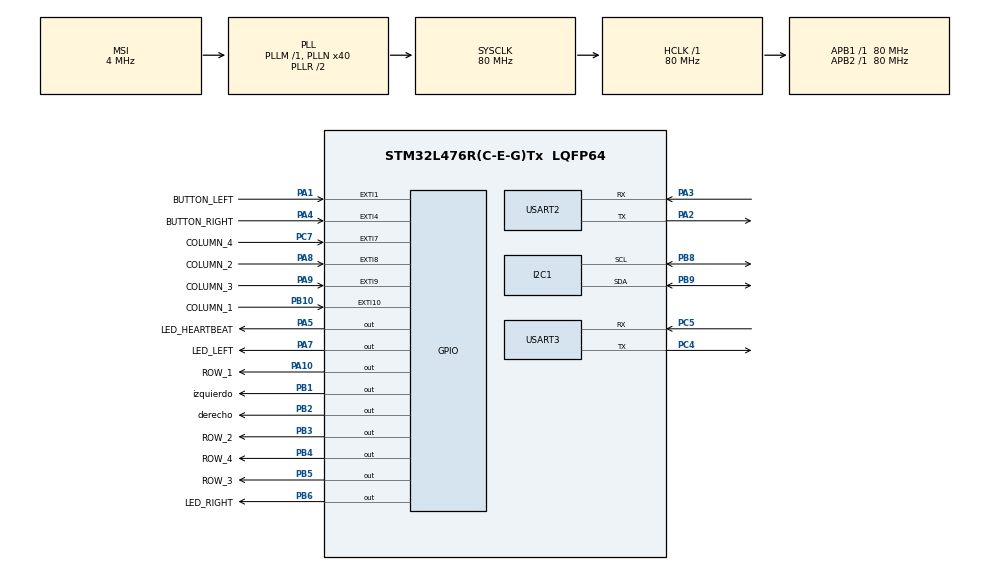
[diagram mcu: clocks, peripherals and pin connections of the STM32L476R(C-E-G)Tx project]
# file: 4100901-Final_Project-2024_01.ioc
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I2C1.Timing=0x10D19CE4
Mcu.Family=STM32L4
Mcu.Name=STM32L476R(C-E-G)Tx
Mcu.Package=LQFP64
NVIC.EXTI15_10_IRQn=true\:0\:0\:false\:false\:true\:true\:true\:true
NVIC.EXTI1_IRQn=true\:0\:0\:false\:false\:true\:true\:true\:true
NVIC.EXTI4_IRQn=true\:0\:0\:false\:false\:true\:true\:true\:true
NVIC.EXTI9_5_IRQn=true\:0\:0\:false\:false\:true\:true\:true\:true
NVIC.PriorityGroup=NVIC_PRIORITYGROUP_4
NVIC.USART2_IRQn=true\:0\:0\:false\:false\:true\:true\:true\:true
NVIC.USART3_IRQn=true\:0\:0\:false\:false\:true\:true\:true\:true
PA1.GPIO_Label=BUTTON_LEFT
PA1.GPIO_ModeDefaultEXTI=GPIO_MODE_IT_FALLING
PA1.GPIO_PuPd=GPIO_PULLUP
PA1.Signal=GPXTI1
PA10.GPIO_Label=ROW_1
PA10.GPIO_ModeDefaultOutputPP=GPIO_MODE_OUTPUT_PP
PA10.GPIO_Speed=GPIO_SPEED_FREQ_HIGH
PA10.PinState=GPIO_PIN_SET
PA10.Signal=GPIO_Output
PA2.Mode=Asynchronous
PA2.Signal=USART2_TX
PA3.Mode=Asynchronous
PA3.Signal=USART2_RX
PA4.GPIO_Label=BUTTON_RIGHT
PA4.GPIO_ModeDefaultEXTI=GPIO_MODE_IT_FALLING
PA4.GPIO_PuPd=GPIO_PULLUP
PA4.Signal=GPXTI4
PA5.GPIO_Label=LED_HEARTBEAT
PA5.Signal=GPIO_Output
PA7.GPIO_Label=LED_LEFT
PA7.Signal=GPIO_Output
PA8.GPIO_Label=COLUMN_2
PA8.GPIO_PuPd=GPIO_PULLDOWN
PA8.Signal=GPXTI8
PA9.GPIO_Label=COLUMN_3
PA9.GPIO_PuPd=GPIO_PULLDOWN
PA9.Signal=GPXTI9
PB1.GPIO_Label=izquierdo
PB1.Signal=GPIO_Output
PB10.GPIO_Label=COLUMN_1
PB10.GPIO_PuPd=GPIO_PULLDOWN
PB10.Signal=GPXTI10
PB2.GPIO_Label=derecho
PB2.Signal=GPIO_Output
PB3\ (JTDO-TRACESWO).GPIO_Label=ROW_2
PB3\ (JTDO-TRACESWO).GPIO_ModeDefaultOutputPP=GPIO_MODE_OUTPUT_PP
PB3\ (JTDO-TRACESWO).GPIO_Speed=GPIO_SPEED_FREQ_HIGH
PB3\ (JTDO-TRACESWO).PinState=GPIO_PIN_SET
PB3\ (JTDO-TRACESWO).Signal=GPIO_Output
PB4\ (NJTRST).GPIO_Label=ROW_4
PB4\ (NJTRST).GPIO_ModeDefaultOutputPP=GPIO_MODE_OUTPUT_PP
PB4\ (NJTRST).GPIO_Speed=GPIO_SPEED_FREQ_HIGH
PB4\ (NJTRST).PinState=GPIO_PIN_SET
PB4\ (NJTRST).Signal=GPIO_Output
PB5.GPIO_Label=ROW_3
PB5.GPIO_ModeDefaultOutputPP=GPIO_MODE_OUTPUT_PP
PB5.GPIO_Speed=GPIO_SPEED_FREQ_HIGH
PB5.PinState=GPIO_PIN_SET
PB5.Signal=GPIO_Output
PB6.GPIO_Label=LED_RIGHT
PB6.Signal=GPIO_Output
PB8.Mode=I2C
PB8.Signal=I2C1_SCL
PB9.Mode=I2C
PB9.Signal=I2C1_SDA
PC4.Mode=Asynchronous
PC4.Signal=USART3_TX
PC5.Mode=Asynchronous
PC5.Signal=USART3_RX
PC7.GPIO_Label=COLUMN_4
PC7.GPIO_PuPd=GPIO_PULLDOWN
PC7.Signal=GPXTI7
ProjectManager.HeapSize=0x200
ProjectManager.StackSize=0x400
ProjectManager.TargetToolchain=STM32CubeIDE
RCC.AHBFreq_Value=80000000
RCC.APB1Freq_Value=80000000
RCC.APB1TimFreq_Value=80000000
RCC.APB2Freq_Value=80000000
RCC.APB2TimFreq_Value=80000000
RCC.CortexFreq_Value=80000000
RCC.HCLKFreq_Value=80000000
RCC.HSE_VALUE=8000000
RCC.HSI_VALUE=16000000
RCC.LSE_VALUE=32768
RCC.MSI_VALUE=4000000
RCC.PLLN=40
RCC.SYSCLKFreq_VALUE=80000000
RCC.SYSCLKSource=RCC_SYSCLKSOURCE_PLLCLK
RCC.VCOOutputFreq_Value=160000000
USART2.VirtualMode-Asynchronous=VM_ASYNC
USART3.VirtualMode-Asynchronous=VM_ASYNC
board=custom

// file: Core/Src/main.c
/* USER CODE BEGIN Header */
/**
  **************************
  * @file           : main.c
  * @brief          : Main program body
  **************************
  * @attention
  *
  * Copyright (c) 2024 STMicroelectronics.
  * All rights reserved.
  *
  * This software is licensed under terms that can be found in the LICENSE file
  * in the root directory of this software component.
  * If no LICENSE file comes with this software, it is provided AS-IS.
  *
  **************************
  */
/* USER CODE END Header */
#include "main.h"

/* USER CODE BEGIN Includes */
#include <stdio.h>
//
//#include "ssd1306.h"
//#include "ssd1306_fonts.h"

#include "ring_buffer.h"
#include "keypad.h"
#include "luces.h"
#include <ctype.h>  // for isdigit
#include <string.h>  // for strcmp
/* USER CODE END Includes */

I2C_HandleTypeDef hi2c1;

UART_HandleTypeDef huart2;
UART_HandleTypeDef huart3;

/* USER CODE BEGIN PV */

#define USART2_BUFFER_SIZE 8
uint8_t usart2_buffer[USART2_BUFFER_SIZE];
ring_buffer_t usart2_rb;

uint8_t usart2_rx;
uint8_t contador;
uint8_t status = 0;
uint8_t block_ = 0;

uint8_t recibido_3 =0 ;

//DIEGO
#define MAX_DIGITS 5 // Ajusta según la cantidad máxima de dígitos
char digits[MAX_DIGITS+1] = {0}; // Arreglo para almacenar los dígitos
int digit_count = 0;

uint8_t desbloqueado=-1;

#define MAX_PASSWORD_LENGTH 2 // Ajusta según la longitud de tu clave
char password[] = "11"; // Reemplaza con tu clave deseada
char input_password[MAX_PASSWORD_LENGTH + 1]; // +1 para el carácter nulo
int current_index = 0;

void process_keypad_input(uint8_t key_pressed);

/* USER CODE END PV */

void SystemClock_Config(void);
static void MX_GPIO_Init(void);
static void MX_I2C1_Init(void);
static void MX_USART2_UART_Init(void);
static void MX_USART3_UART_Init(void);

/* USER CODE BEGIN 0 */
int _write(int file, char *ptr, int len)
{
  HAL_UART_Transmit(&huart2, (uint8_t *)ptr, len, 10);
  return len;
}

void HAL_UART_RxCpltCallback(UART_HandleTypeDef *huart)
{
  /* Data received in USART2 */
  if (huart->Instance == USART3) {
	  usart2_rx = USART3->RDR; // leyendo el byte recibido de USART2
	  //ring_buffer_write(&usart2_rb, usart2_rx); // put the data received in buffer
	  //HAL_UART_Transmit(&huart2, &recibido_3, 1,10);
	  //HAL_UART_Receive_IT(&huart3, &recibido_3, 1); // enable interrupt for USART2 Rx

	  //HAL_UART_Receive_IT(&huart2, &usart2_rx, 1); // enable interrupt to continue receiving
	  //ATOMIC_SET_BIT(USART2->CR1, USART_CR1_RXNEIE); // usando un funcion mas liviana para reducir memoria
  }
}

// Esta función se llamará cuando se presione una tecla
void HAL_GPIO_EXTI_Callback(uint16_t GPIO_Pin) {

    // Leer la tecla presionada
	char key = keypad_scan(GPIO_Pin);  // Convertir uint8_t a unsigned char

    //control bloqueo
    //desbloquea el sistema
    if(key == 'A'){
    	printf("desbloqueado\r\n");
    	Ublock();
    	block_ = 1;//DESBLOQUEA
    	status = 0;
    }
    //bloquea el sistema
    if(key == 'B'){
    	printf("bloquedo\r\n");
    	HAL_GPIO_WritePin(derecho_GPIO_Port,derecho_Pin, 0);
    	HAL_GPIO_WritePin(izquierdo_GPIO_Port,izquierdo_Pin, 0);
        	block_ = 2;//BLOQUEA
        	status = 0;
     }

    	//control luces
    //enciende señal izquierda
    if(key == '1'){
    	SET_(6,0,0);
    	HAL_GPIO_WritePin(derecho_GPIO_Port,derecho_Pin, 0);
    	status = 1;

    }
    //enciende parqueo
    if(key == '2'){
    	SET_(0,0xFF,0);
    	HAL_GPIO_WritePin(derecho_GPIO_Port,derecho_Pin, 0);
    	    	HAL_GPIO_WritePin(izquierdo_GPIO_Port,izquierdo_Pin, 0);
    	 status = 2;

   	}
    //enciende señal derecha
    if(key == '3'){
    	SET_(0,0,6);
    	HAL_GPIO_WritePin(izquierdo_GPIO_Port,izquierdo_Pin, 0);
    	status = 3;

	}
    //apaga el sistema
    if(key == '*'){
    	HAL_GPIO_WritePin(derecho_GPIO_Port,derecho_Pin, 0);
    	HAL_GPIO_WritePin(izquierdo_GPIO_Port,izquierdo_Pin, 0);

    	SET_(0,0,0);
    	status = 4;

    }

}

//  seguridad del codigo, a traves de lectura por teclado

void process_keypad_input(uint8_t key_pressed) {
    if (isdigit(key_pressed)) {
        // Agregar dígito a la clave
        input_password[current_index++] = key_pressed;
        input_password[current_index] = '\0'; // Agrega el terminador nulo al final
        printf("%c",input_password[current_index++]);
    } else if (key_pressed == '#') {
        // Validar la clave solo al presionar '#'
        if (strcmp(input_password, password) == 0) {
            printf("Clave correcta!\n");
            desbloqueado=1;

            // Aquí puedes hacer otras acciones como activar un LED o abrir una puerta
        } else {

        	desbloqueado=0;
            printf("Clave incorrecta!\n");

        }
        // Resetea para una nueva entrada de clave
        memset(input_password, 0, sizeof(input_password));
        current_index = 0;
    } else if (key_pressed == '*') {
        // Resetea la entrada cuando se presiona '*'
        printf("Reseteando clave...\n");
        memset(input_password, 0, sizeof(input_password));
        current_index = 0;
        ssd1306_Fill(Black); // Limpiar la pantalla
        ssd1306_UpdateScreen();
    }
}

void low_power_mode()
{
#define AWAKE_TIME (10 * 1000) // 10 segundos
	static uint32_t sleep_tick = AWAKE_TIME;

	if (sleep_tick > HAL_GetTick()) {
		return;
	}
	printf("Sleeping\r\n");
	sleep_tick = HAL_GetTick() + AWAKE_TIME;

	RCC->AHB1SMENR  = 0x0;
	RCC->AHB2SMENR  = 0x0;
	RCC->AHB3SMENR  = 0x0;

	RCC->APB1SMENR1 = 0x0;
	RCC->APB1SMENR2 = 0x0;
	RCC->APB2SMENR  = 0x0;

	/*Suspend Tick increment to prevent wakeup by Systick interrupt.
	Otherwise the Systick interrupt will wake up the device within 1ms (HAL time base)*/
	HAL_SuspendTick();

	/* Enter Sleep Mode , wake up is done once User push-button is pressed */
	HAL_PWR_EnterSLEEPMode(PWR_MAINREGULATOR_ON, PWR_SLEEPENTRY_WFI);

	/* Resume Tick interrupt if disabled prior to SLEEP mode entry */
	HAL_ResumeTick();

	printf("Awake\r\n");
}

/* USER CODE END 0 */

int main(void)
{

  /* MCU Configuration--------------------------------------------------------*/

  /* Reset of all peripherals, Initializes the Flash interface and the Systick. */
  HAL_Init();

  /* Configure the system clock */
  SystemClock_Config();

  /* Initialize all configured peripherals */
  MX_GPIO_Init();
  MX_I2C1_Init();
  MX_USART2_UART_Init();
  MX_USART3_UART_Init();
  /* USER CODE BEGIN 2 */
  ssd1306_Init();
  ssd1306_SetCursor(25, 10);  // Baja el cursor 10 píxeles más abajo para la segunda línea
   ssd1306_WriteString("   LOCKED", Font_7x10, White);  // Escribe el segundo mensaje

  ssd1306_SetCursor(25, 30);  // Establece el cursor en la posición (25, 30)
  ssd1306_WriteString("WELCOME", Font_11x18, White);

  ssd1306_UpdateScreen();

  ring_buffer_init(&usart2_rb, usart2_buffer, USART2_BUFFER_SIZE);
  /* USER CODE END 2 */

  /* Infinite loop */
  /* USER CODE BEGIN WHILE */
  printf("Starting...\r\n");
  //HAL_UART_Receive_IT(&huart3, &usart2_rx, 1); // enable interrupt for USART2 Rx
  //HAL_UART_Receive_IT(&huart3, &recibido_3, 1); // enable interrupt for USART2 Rx
  //ATOMIC_SET_BIT(USART2->CR1, USART_CR1_RXNEIE); // usando un funcion mas liviana para reducir memoria
  while (1) {

//	   	   printf("played...\r\n");
//

	  //bucle principal
	  //block en 1 inidica que el sistema esta desbloqueado, se procede a las ejecuciones que indique el usuario
	  if(block_ == 1){
		  if(status == 1){
			  	  	  //direccional izquierda
		  	  	   	turn_signal_left();

		  	  }
		  	  	   if(status == 2){
		  	  		//parqueo
		  	  	   park_signal();
		  	 }
		  	 if(status == 3){
		  		//direccional derecha
		  	  	 turn_signal_right();
		  	  }
		  	 if(status == 4){
		  		 //sistema apagado
		  			 park_signal();
		  			 turn_signal_left();
		  			 turn_signal_right();
		  			 SYSTEM_0FF();

		  			 status = -1;
		  	 }
	  }
	  if(block_ == 2){
		  block();
	  }

	 HAL_Delay(1);  // Pausa para no saturar el sistema

    /* USER CODE END WHILE */

  }
}

void SystemClock_Config(void)
{
  RCC_OscInitTypeDef RCC_OscInitStruct = {0};
  RCC_ClkInitTypeDef RCC_ClkInitStruct = {0};

  /** Configure the main internal regulator output voltage
  */
  if (HAL_PWREx_ControlVoltageScaling(PWR_REGULATOR_VOLTAGE_SCALE1) != HAL_OK)
  {
    Error_Handler();
  }

  /** Initializes the RCC Oscillators according to the specified parameters
  * in the RCC_OscInitTypeDef structure.
  */
  RCC_OscInitStruct.OscillatorType = RCC_OSCILLATORTYPE_MSI;
  RCC_OscInitStruct.MSIState = RCC_MSI_ON;
  RCC_OscInitStruct.MSICalibrationValue = 0;
  RCC_OscInitStruct.MSIClockRange = RCC_MSIRANGE_6;
  RCC_OscInitStruct.PLL.PLLState = RCC_PLL_ON;
  RCC_OscInitStruct.PLL.PLLSource = RCC_PLLSOURCE_MSI;
  RCC_OscInitStruct.PLL.PLLM = 1;
  RCC_OscInitStruct.PLL.PLLN = 40;
  RCC_OscInitStruct.PLL.PLLP = RCC_PLLP_DIV7;
  RCC_OscInitStruct.PLL.PLLQ = RCC_PLLQ_DIV2;
  RCC_OscInitStruct.PLL.PLLR = RCC_PLLR_DIV2;
  if (HAL_RCC_OscConfig(&RCC_OscInitStruct) != HAL_OK)
  {
    Error_Handler();
  }

  /** Initializes the CPU, AHB and APB buses clocks
  */
  RCC_ClkInitStruct.ClockType = RCC_CLOCKTYPE_HCLK|RCC_CLOCKTYPE_SYSCLK
                              |RCC_CLOCKTYPE_PCLK1|RCC_CLOCKTYPE_PCLK2;
  RCC_ClkInitStruct.SYSCLKSource = RCC_SYSCLKSOURCE_PLLCLK;
  RCC_ClkInitStruct.AHBCLKDivider = RCC_SYSCLK_DIV1;
  RCC_ClkInitStruct.APB1CLKDivider = RCC_HCLK_DIV1;
  RCC_ClkInitStruct.APB2CLKDivider = RCC_HCLK_DIV1;

  if (HAL_RCC_ClockConfig(&RCC_ClkInitStruct, FLASH_LATENCY_4) != HAL_OK)
  {
    Error_Handler();
  }
}

static void MX_I2C1_Init(void)
{

  hi2c1.Instance = I2C1;
  hi2c1.Init.Timing = 0x10D19CE4;
  hi2c1.Init.OwnAddress1 = 0;
  hi2c1.Init.AddressingMode = I2C_ADDRESSINGMODE_7BIT;
  hi2c1.Init.DualAddressMode = I2C_DUALADDRESS_DISABLE;
  hi2c1.Init.OwnAddress2 = 0;
  hi2c1.Init.OwnAddress2Masks = I2C_OA2_NOMASK;
  hi2c1.Init.GeneralCallMode = I2C_GENERALCALL_DISABLE;
  hi2c1.Init.NoStretchMode = I2C_NOSTRETCH_DISABLE;
  if (HAL_I2C_Init(&hi2c1) != HAL_OK)
  {
    Error_Handler();
  }

  /** Configure Analogue filter
  */
  if (HAL_I2CEx_ConfigAnalogFilter(&hi2c1, I2C_ANALOGFILTER_ENABLE) != HAL_OK)
  {
    Error_Handler();
  }

  /** Configure Digital filter
  */
  if (HAL_I2CEx_ConfigDigitalFilter(&hi2c1, 0) != HAL_OK)
  {
    Error_Handler();
  }

}

static void MX_USART2_UART_Init(void)
{

  huart2.Instance = USART2;
  huart2.Init.BaudRate = 115200;
  huart2.Init.WordLength = UART_WORDLENGTH_8B;
  huart2.Init.StopBits = UART_STOPBITS_1;
  huart2.Init.Parity = UART_PARITY_NONE;
  huart2.Init.Mode = UART_MODE_TX_RX;
  huart2.Init.HwFlowCtl = UART_HWCONTROL_NONE;
  huart2.Init.OverSampling = UART_OVERSAMPLING_16;
  huart2.Init.OneBitSampling = UART_ONE_BIT_SAMPLE_DISABLE;
  huart2.AdvancedInit.AdvFeatureInit = UART_ADVFEATURE_NO_INIT;
  if (HAL_UART_Init(&huart2) != HAL_OK)
  {
    Error_Handler();
  }

}

static void MX_USART3_UART_Init(void)
{

  huart3.Instance = USART3;
  huart3.Init.BaudRate = 115200;
  huart3.Init.WordLength = UART_WORDLENGTH_8B;
  huart3.Init.StopBits = UART_STOPBITS_1;
  huart3.Init.Parity = UART_PARITY_NONE;
  huart3.Init.Mode = UART_MODE_TX_RX;
  huart3.Init.HwFlowCtl = UART_HWCONTROL_NONE;
  huart3.Init.OverSampling = UART_OVERSAMPLING_16;
  huart3.Init.OneBitSampling = UART_ONE_BIT_SAMPLE_DISABLE;
  huart3.AdvancedInit.AdvFeatureInit = UART_ADVFEATURE_NO_INIT;
  if (HAL_UART_Init(&huart3) != HAL_OK)
  {
    Error_Handler();
  }

}

static void MX_GPIO_Init(void)
{
  GPIO_InitTypeDef GPIO_InitStruct = {0};

  /* GPIO Ports Clock Enable */
  __HAL_RCC_GPIOA_CLK_ENABLE();
  __HAL_RCC_GPIOC_CLK_ENABLE();
  __HAL_RCC_GPIOB_CLK_ENABLE();

  /*Configure GPIO pin Output Level */
  HAL_GPIO_WritePin(GPIOA, LED_HEARTBEAT_Pin|LED_LEFT_Pin, GPIO_PIN_RESET);

  /*Configure GPIO pin Output Level */
  HAL_GPIO_WritePin(GPIOB, izquierdo_Pin|derecho_Pin|LED_RIGHT_Pin, GPIO_PIN_RESET);

  /*Configure GPIO pin Output Level */
  HAL_GPIO_WritePin(ROW_1_GPIO_Port, ROW_1_Pin, GPIO_PIN_SET);

  /*Configure GPIO pin Output Level */
  HAL_GPIO_WritePin(GPIOB, ROW_2_Pin|ROW_4_Pin|ROW_3_Pin, GPIO_PIN_SET);

  /*Configure GPIO pins : BUTTON_LEFT_Pin BUTTON_RIGHT_Pin */
  GPIO_InitStruct.Pin = BUTTON_LEFT_Pin|BUTTON_RIGHT_Pin;
  GPIO_InitStruct.Mode = GPIO_MODE_IT_FALLING;
  GPIO_InitStruct.Pull = GPIO_PULLUP;
  HAL_GPIO_Init(GPIOA, &GPIO_InitStruct);

  /*Configure GPIO pins : LED_HEARTBEAT_Pin LED_LEFT_Pin */
  GPIO_InitStruct.Pin = LED_HEARTBEAT_Pin|LED_LEFT_Pin;
  GPIO_InitStruct.Mode = GPIO_MODE_OUTPUT_PP;
  GPIO_InitStruct.Pull = GPIO_NOPULL;
  GPIO_InitStruct.Speed = GPIO_SPEED_FREQ_LOW;
  HAL_GPIO_Init(GPIOA, &GPIO_InitStruct);

  /*Configure GPIO pins : izquierdo_Pin derecho_Pin LED_RIGHT_Pin */
  GPIO_InitStruct.Pin = izquierdo_Pin|derecho_Pin|LED_RIGHT_Pin;
  GPIO_InitStruct.Mode = GPIO_MODE_OUTPUT_PP;
  GPIO_InitStruct.Pull = GPIO_NOPULL;
  GPIO_InitStruct.Speed = GPIO_SPEED_FREQ_LOW;
  HAL_GPIO_Init(GPIOB, &GPIO_InitStruct);

  /*Configure GPIO pin : COLUMN_1_Pin */
  GPIO_InitStruct.Pin = COLUMN_1_Pin;
  GPIO_InitStruct.Mode = GPIO_MODE_IT_RISING;
  GPIO_InitStruct.Pull = GPIO_PULLDOWN;
  HAL_GPIO_Init(COLUMN_1_GPIO_Port, &GPIO_InitStruct);

  /*Configure GPIO pin : COLUMN_4_Pin */
  GPIO_InitStruct.Pin = COLUMN_4_Pin;
  GPIO_InitStruct.Mode = GPIO_MODE_IT_RISING;
  GPIO_InitStruct.Pull = GPIO_PULLDOWN;
  HAL_GPIO_Init(COLUMN_4_GPIO_Port, &GPIO_InitStruct);

  /*Configure GPIO pins : COLUMN_2_Pin COLUMN_3_Pin */
  GPIO_InitStruct.Pin = COLUMN_2_Pin|COLUMN_3_Pin;
  GPIO_InitStruct.Mode = GPIO_MODE_IT_RISING;
  GPIO_InitStruct.Pull = GPIO_PULLDOWN;
  HAL_GPIO_Init(GPIOA, &GPIO_InitStruct);

  /*Configure GPIO pin : ROW_1_Pin */
  GPIO_InitStruct.Pin = ROW_1_Pin;
  GPIO_InitStruct.Mode = GPIO_MODE_OUTPUT_PP;
  GPIO_InitStruct.Pull = GPIO_NOPULL;
  GPIO_InitStruct.Speed = GPIO_SPEED_FREQ_HIGH;
  HAL_GPIO_Init(ROW_1_GPIO_Port, &GPIO_InitStruct);

  /*Configure GPIO pins : ROW_2_Pin ROW_4_Pin ROW_3_Pin */
  GPIO_InitStruct.Pin = ROW_2_Pin|ROW_4_Pin|ROW_3_Pin;
  GPIO_InitStruct.Mode = GPIO_MODE_OUTPUT_PP;
  GPIO_InitStruct.Pull = GPIO_NOPULL;
  GPIO_InitStruct.Speed = GPIO_SPEED_FREQ_HIGH;
  HAL_GPIO_Init(GPIOB, &GPIO_InitStruct);

  /* EXTI interrupt init*/
  HAL_NVIC_SetPriority(EXTI1_IRQn, 0, 0);
  HAL_NVIC_EnableIRQ(EXTI1_IRQn);

  HAL_NVIC_SetPriority(EXTI4_IRQn, 0, 0);
  HAL_NVIC_EnableIRQ(EXTI4_IRQn);

  HAL_NVIC_SetPriority(EXTI9_5_IRQn, 0, 0);
  HAL_NVIC_EnableIRQ(EXTI9_5_IRQn);

  HAL_NVIC_SetPriority(EXTI15_10_IRQn, 0, 0);
  HAL_NVIC_EnableIRQ(EXTI15_10_IRQn);

}

void Error_Handler(void)
{
  __disable_irq();
  while (1)
  {
  }
}
